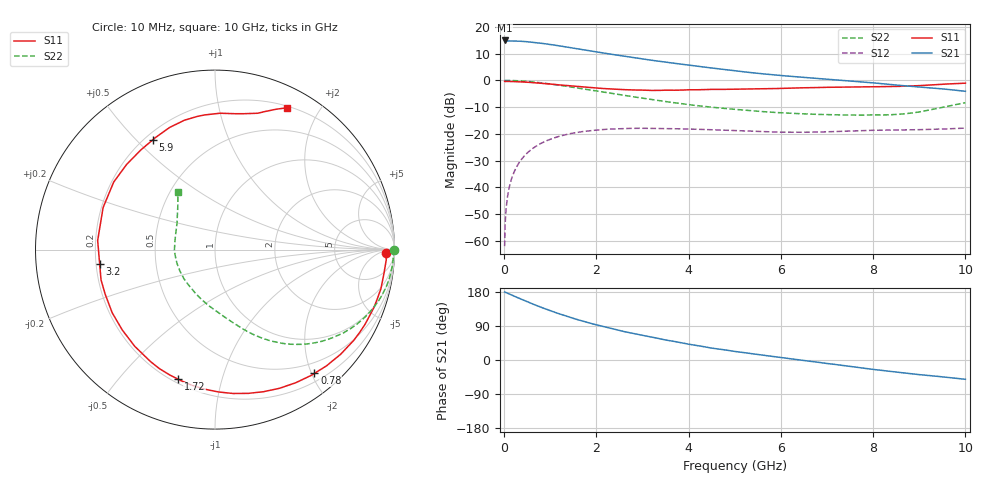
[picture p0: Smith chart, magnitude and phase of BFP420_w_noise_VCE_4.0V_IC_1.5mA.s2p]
! Infineon Technologies  Discrete & RF Semiconductors
! BFP420
! VCE =  4.0 V,  IC =  1.5 mA
! Common Emitter S-Parameters:  Jan 2016
# GHz  S  MA  R  50
!  f  S11  S21  S12  S22
! GHz  MAG  ANG  MAG  ANG  MAG  ANG  MAG  ANG
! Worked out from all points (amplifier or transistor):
!   233 points, 10 MHz to 10 GHz, reference 50 ohm
!   highest |S21| = 14.9 dB at 10 MHz (marker M1)
!   |S21| within 3 dB of that: start of sweep to 1.554 GHz
!   unconditionally stable (mu >= 1): 4.124 GHz to end of sweep
!   at 200 MHz: K = 0.04, MSG = 24.8 dB, |S12| = -34.9 dB
!   at 1.74 GHz: K = 0.31, MSG = 15.2 dB, |S12| = -19.1 dB
!   at 10 GHz: K = 1.27, MAG = 3.7 dB, |S12| = -17.8 dB
!   lowest NFmin = 0.52 dB at 900 MHz
!   S11 on the Smith chart (normalised r, x): 10 MHz: 35, -17; 780 MHz: 0.32, -2.05; 1.72 GHz: 0.22, -0.73; 3.2 GHz: 0.21, -0.06; 5.9 GHz: 0.23, +0.56; 10 GHz: 0.22, +1.60
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0.01  0.955 -1.3  5.554 179.3  0.0008 44.4  0.9953 0.0
0.025  0.9512 -1.7  5.391 178.9  0.0024 77.9  0.9949 -0.8
0.05  0.9559 -3.4  5.416 177.2  0.0047 82.2  0.9953 -1.7
0.095  0.9523 -6.4  5.441 175.0  0.0087 83.5  0.9943 -3.3
0.17  0.9493 -11.3  5.438 171.2  0.0154 82.1  0.9908 -6.0
0.48  0.9253 -31.9  5.274 154.9  0.0423 71.2  0.9582 -16.6
0.78  0.8847 -51.2  4.955 140.2  0.0652 60.2  0.9031 -26.3
1  0.8523 -65.0  4.673 130.1  0.0795 52.9  0.8551 -32.7
1.2  0.8221 -77.0  4.399 121.5  0.0905 46.7  0.8084 -38.0
1.68  0.7559 -103.7  3.777 103.3  0.1097 33.4  0.6997 -49.0
1.72  0.751 -105.8  3.727 101.9  0.1109 32.4  0.6913 -49.8
1.98  0.7219 -118.9  3.42 93.3  0.1175 26.4  0.6378 -54.8
2.4  0.6837 -139.1  2.999 80.6  0.1244 17.6  0.5587 -62.0
2.78  0.662 -156.1  2.671 70.3  0.1269 10.8  0.4962 -67.9
3.2  0.6476 -172.8  2.369 60.4  0.1266 4.6  0.438 -73.9
3.4  0.65 179.4  2.245 55.5  0.1261 1.9  0.4129 -77.0
4  0.666 159.4  1.928 41.7  0.1234 -4.5  0.3516 -86.9
5.1  0.684 134.1  1.471 21.1  0.1145 -11.9  0.2823 -107.1
5.9  0.7026 119.7  1.253 8.2  0.1082 -13.6  0.2506 -123.4
6.8  0.7335 106.1  1.083 -5.9  0.1085 -13.3  0.2311 -144.0
8.4  0.7657 81.4  0.831 -30.4  0.118 -17.0  0.2282 167.8
10  0.8848 63.2  0.625 -50.9  0.1283 -19.8  0.382 122.7
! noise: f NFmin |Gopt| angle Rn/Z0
0.9  0.52  0.55  33  0.27
1.8  1.07  0.35  77  0.21
2.4  1.18  0.36  101  0.18
3  1.41  0.36  134  0.13
4  1.68  0.4  -172  0.1
5  2.08  0.44  -130  0.32
6  2.89  0.57  -114  0.39
